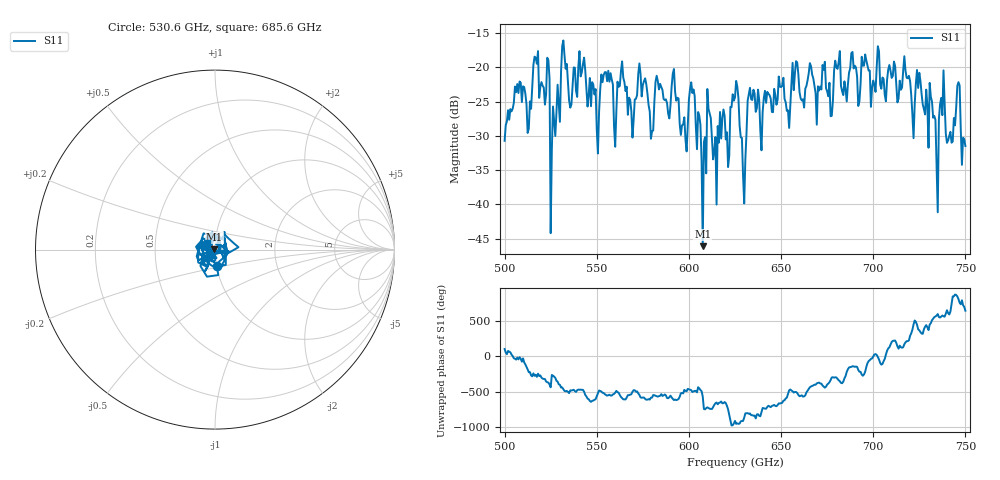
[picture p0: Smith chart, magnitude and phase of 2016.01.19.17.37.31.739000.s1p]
!Created with skrf (http://scikit-rf.org).
# GHz S RI R 50.0
!freq ReS11 ImS11
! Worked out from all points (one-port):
!   401 points, 500 GHz to 750 GHz, reference 50 ohm
!   lowest |S11| = -46.1 dB at 607.5 GHz (marker M1), VSWR 1.01, Z = 49.6 + j0.261 ohm
!   |S11| at or under -10 dB: start of sweep to end of sweep
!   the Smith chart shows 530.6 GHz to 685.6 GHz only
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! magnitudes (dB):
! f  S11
! 500 GHz  -30.7
! 506.9 GHz  -22.4
! 513.1 GHz  -28.9
! 516.9 GHz  -18.6
! 523.1 GHz  -18.6
! 526.2 GHz  -25.7
! 531.2 GHz  -16.9
! 550 GHz  -29.1
! 562.5 GHz  -22.7
! 579.4 GHz  -30.4
! 583.1 GHz  -22.0
! 593.8 GHz  -24.4
! 598.1 GHz  -30.5
! 601.9 GHz  -23.7
! 607.5 GHz  -46.1
! 611.2 GHz  -26.7
! 613.8 GHz  -32.2
! 625 GHz  -24.4
! 629.4 GHz  -35.9
! 633.8 GHz  -24.7
! 656.2 GHz  -19.3
! 687.5 GHz  -20.1
! 718.8 GHz  -21.6
! 731.9 GHz  -25.0
! 733.8 GHz  -27.7
! 737.5 GHz  -27.0
! 746.2 GHz  -22.2
! 750 GHz  -31.5
